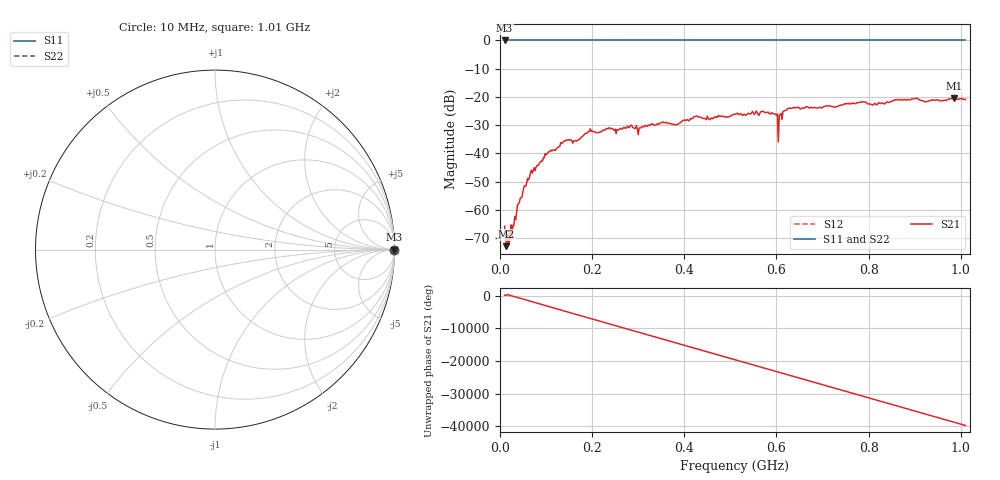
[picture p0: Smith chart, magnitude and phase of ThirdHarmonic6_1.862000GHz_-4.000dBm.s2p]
! 8/16/2025 10:30:49 PM
! C:\ANRITSUVNA\TEMP\TEMP.S2P
! CHANNEL.1
! TR.MEASUREMENT
! RAW.DATA
! RF.CORRECTION.OFF
! AVERAGING.OFF
! IF.BANDWIDTH: 5KHZ
! SWEEPTYPE:  FREQ.SWEEP(Linear)
! Reference Plane Port Info
! PORT:  PORT1  PORT2
! DISTANCE:  0  m  0  m
! TIME:  0  s  0  s
! PHASE.OFFSET:  0  deg.  0  deg.
! LOSS:  0  dB  0  dB
! REF.LOSS:  0  dB  0  dB
! REF.FREQ:  0  Hz  0  Hz
! Power Info
! POWER:  -20  dBm  -20  dBm
! EFF.POWER:  -20  dBm  -20  dBm
! SOURCE.ATTEN:  0  dB  0  dB
! TEST.ATTEN:  0  dB  0  dB
# GHZ S RI R 50.0
! FREQ.GHZ  S11RE  S11IM  S21RE  S21IM  S12RE  S12IM  S22RE  S22IM
!; PortSelection: Port_12
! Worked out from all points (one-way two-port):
!   501 points, 10 MHz to 1.01 GHz, reference 50 ohm
!   highest |S21| = -20.36 dB at 986 MHz (marker M1); lowest = -72.8 dB at 14 MHz (marker M2)
!   lowest |S11| = 0.0 dB at 10 MHz (marker M3)
!   |S11| at or under -10 dB: nowhere
!   |S22| runs from 0.0 to 0.0 dB; largest |S21 - S12| = 1.1
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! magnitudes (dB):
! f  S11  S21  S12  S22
! 10 MHz  0.0  -65.7  0.0  0.0
! 14 MHz  0.0  -72.8  0.0  0.0
! 18 MHz  0.0  -68.7  0.0  0.0
! 30 MHz  0.0  -65.5  0.0  0.0
! 42 MHz  0.0  -57.3  0.0  0.0
! 70 MHz  0.0  -46.9  0.0  0.0
! 136 MHz  0.0  -36.2  0.0  0.0
! 178 MHz  0.0  -34.1  0.0  0.0
! 196 MHz  0.0  -31.3  0.0  0.0
! 302 MHz  0.0  -31.1  0.0  0.0
! 344 MHz  0.0  -29.7  0.0  0.0
! 510 MHz  0.0  -26.1  0.0  0.0
! 572 MHz  0.0  -25.2  0.0  0.0
! 598 MHz  0.0  -26.1  0.0  0.0
! 600 MHz  0.0  -26.5  0.0  0.0
! 608 MHz  0.0  -26.2  0.0  0.0
! 610 MHz  0.0  -25.9  0.0  0.0
! 626 MHz  0.0  -24.0  0.0  0.0
! 678 MHz  0.0  -23.8  0.0  0.0
! 844 MHz  0.0  -22.0  0.0  0.0
! 986 MHz  0.0  -20.4  0.0  0.0
! 1.01 GHz  0.0  -20.8  0.0  0.0
